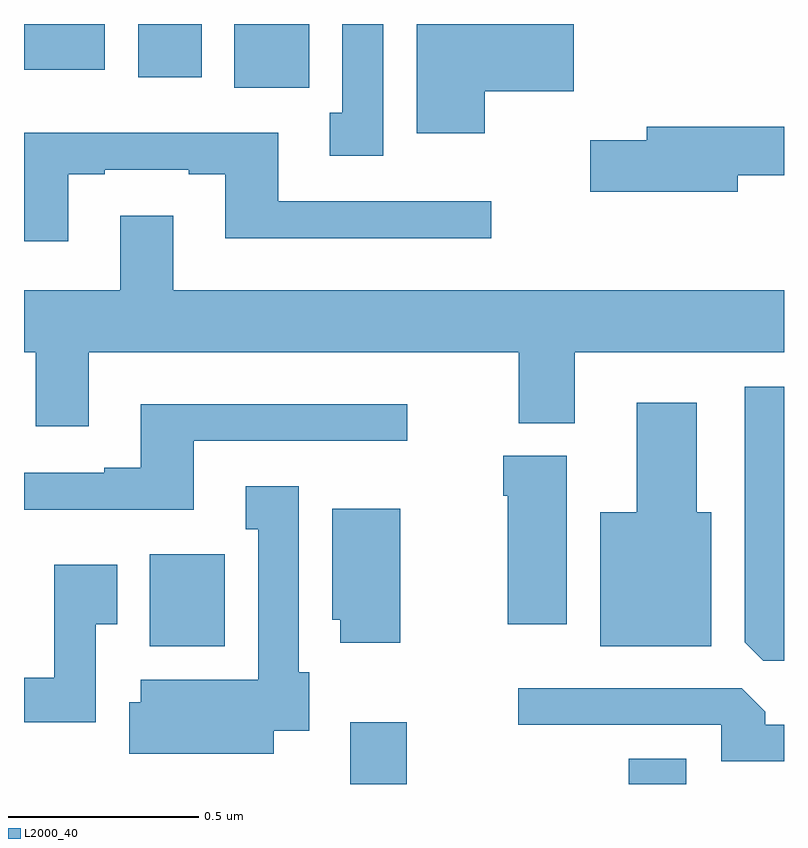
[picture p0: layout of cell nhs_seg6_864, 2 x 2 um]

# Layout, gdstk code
import gdstk
lib = gdstk.Library(unit=1e-6, precision=1e-09)
def R(c, l, rs):  # rectangles x0, y0, x1, y1
    for r in rs: c.add(gdstk.rectangle(r[:2], r[2:], *l))
def P(c, l, *ps):  # polygons
    for p in ps: c.add(gdstk.Polygon(p, *l))
L2000_40 = (2000, 40)

nhs_seg6_864 = lib.new_cell('nhs_seg6_864')
R(nhs_seg6_864, L2000_40, [(121.859,979.5,122.007,979.663), (122.591,979.5,122.743,979.567), (121.331,979.862,121.528,980.104), (121.553,981.332,121.75,981.5), (121.301,981.36,121.468,981.5), (121,981.38,121.213,981.5)])
P(nhs_seg6_864, L2000_40, [(121.945,981.5),(121.838,981.5),(121.838,981.266),(121.805,981.266),(121.805,981.153),(121.945,981.153)],
  [(122.212,981.323),(122.447,981.323),(122.447,981.5),(122.033,981.5),(122.033,981.212),(122.212,981.212)],
  [(122.878,981.102),(123,981.102),(123,981.23),(122.639,981.23),(122.639,981.194),(122.49,981.194),(122.49,981.059),(122.878,981.059)],
  [(121.117,981.105),(121.213,981.105),(121.213,981.117),(121.433,981.117),(121.433,981.105),(121.529,981.105),(121.529,980.936),(122.23,980.936),(122.23,981.033),(121.669,981.033),(121.669,981.214),(121,981.214),(121,980.928),(121.117,980.928)],
  [(121.171,980.636),(122.302,980.636),(122.302,980.449),(122.449,980.449),(122.449,980.636),(123,980.636),(123,980.8),(121.393,980.8),(121.393,980.995),(121.253,980.995),(121.253,980.8),(121,980.8),(121,980.636),(121.031,980.636),(121.031,980.442),(121.171,980.442)],
  [(123,980.545),(122.897,980.545),(122.897,979.873),(122.946,979.824),(123,979.824)],
  [(122.809,980.215),(122.77,980.215),(122.77,980.503),(122.612,980.503),(122.612,980.215),(122.516,980.215),(122.516,979.862),(122.809,979.862)],
  [(121.447,980.403),(122.008,980.403),(122.008,980.5),(121.307,980.5),(121.307,980.332),(121.211,980.332),(121.211,980.319),(121,980.319),(121,980.222),(121.447,980.222)],
  [(122.428,980.364),(122.261,980.364),(122.261,980.258),(122.273,980.258),(122.273,979.92),(122.428,979.92)],
  [(121.657,979.64),(121.75,979.64),(121.75,979.794),(121.723,979.794),(121.723,980.284),(121.583,980.284),(121.583,980.171),(121.616,980.171),(121.616,979.774),(121.307,979.774),(121.307,979.715),(121.277,979.715),(121.277,979.58),(121.657,979.58)],
  [(121.99,980.224),(121.811,980.224),(121.811,979.932),(121.832,979.932),(121.832,979.872),(121.99,979.872)],
  [(121.189,979.921),(121.246,979.921),(121.246,980.077),(121.079,980.077),(121.079,979.78),(121,979.78),(121,979.662),(121.189,979.662)],
  [(123,979.656),(122.951,979.656),(122.951,979.69),(122.889,979.752),(122.301,979.752),(122.301,979.656),(122.835,979.656),(122.835,979.56),(123,979.56)])

lib.write_gds('nhs_seg6_864.gds')
